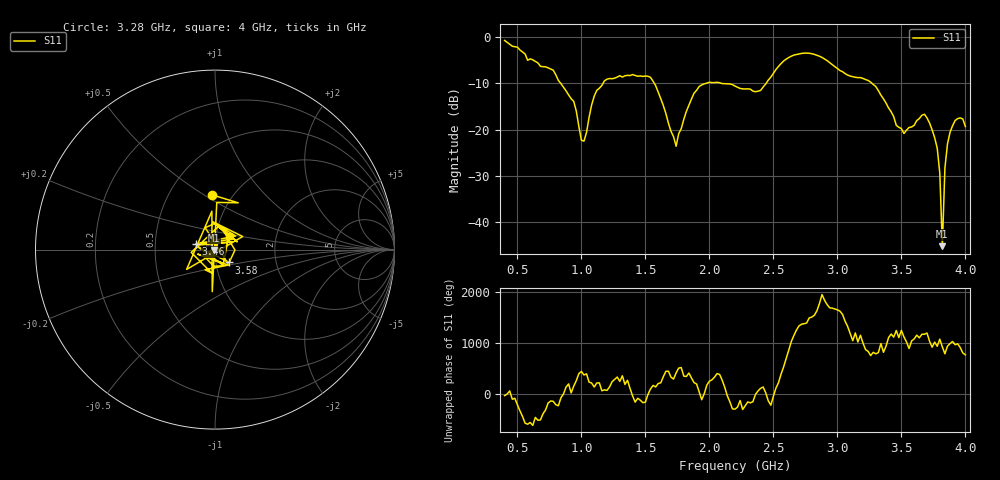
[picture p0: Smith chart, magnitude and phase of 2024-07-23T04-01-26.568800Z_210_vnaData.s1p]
!Created with skrf (http://scikit-rf.org).
# Hz S RI R 50.0
!freq ReS11 ImS11
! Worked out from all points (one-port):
!   181 points, 400 MHz to 4 GHz, reference 50 ohm
!   lowest |S11| = -45.2 dB at 3.82 GHz (marker M1), VSWR 1.01, Z = 49.5 - j0.183 ohm
!   |S11| at or under -10 dB: 1.569 GHz to 1.978 GHz (408.7 MHz wide, 23 % of centre); 2.091 GHz to 2.444 GHz (352.7 MHz wide, 15.6 % of centre); 3.269 GHz to end of sweep (the widest 3 of 4)
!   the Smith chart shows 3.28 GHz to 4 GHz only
!   S11 on the Smith chart (normalised r, x): 3.28 GHz: 0.80, +0.54; 3.46 GHz: 0.81, +0.05; 3.58 GHz: 1.16, -0.17; 4 GHz: 1.16, +0.17
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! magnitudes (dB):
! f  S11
! 400 MHz  -0.8
! 780 MHz  -7.2
! 860 MHz  -10.9
! 940 MHz  -13.9
! 1 GHz  -22.3
! 1.02 GHz  -22.5
! 1.12 GHz  -11.5
! 1.3 GHz  -8.4
! 1.54 GHz  -8.8
! 1.74 GHz  -23.6
! 1.76 GHz  -20.9
! 1.92 GHz  -10.7
! 2.2 GHz  -10.6
! 2.4 GHz  -11.6
! 2.66 GHz  -3.9
! 3.1 GHz  -8.5
! 3.28 GHz  -10.3
! 3.46 GHz  -19.1
! 3.56 GHz  -19.5
! 3.58 GHz  -19.4
! 3.68 GHz  -16.7
! 3.76 GHz  -21.8
! 3.8 GHz  -29.4
! 3.82 GHz  -45.2
! 3.84 GHz  -28.3
! 3.86 GHz  -23.1
! 3.92 GHz  -18.0
! 4 GHz  -19.3
